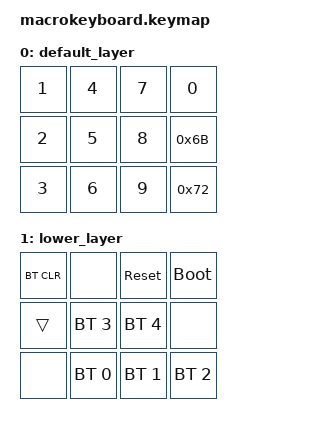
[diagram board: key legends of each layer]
/*
 * Copyright (c) 2021 Nick Winans
 *
 * SPDX-License-Identifier: MIT
 */

#include <behaviors.dtsi>
#include <dt-bindings/zmk/keys.h>
#include <dt-bindings/zmk/bt.h>
#include <dt-bindings/zmk/outputs.h>

#define OUT_USB 1

/ {
    keymap {
        compatible = "zmk,keymap";

        default_layer {
            bindings = <
    &kp N1 &kp N4 &kp N7 &kp N0
    &kp N2 &kp N5 &kp N8 &kp 0x6B
    &kp N3 &kp N6 &kp N9 &kp 0x72
            >;
        };

        lower_layer {
            bindings = <
    &bt BT_CLR &none        &sys_reset       &bootloader
    &trans     &bt BT_SEL 3 &bt BT_SEL 4 &none
    &none      &bt BT_SEL 0 &bt BT_SEL 1 &bt BT_SEL 2
            >;
        };
    };
};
